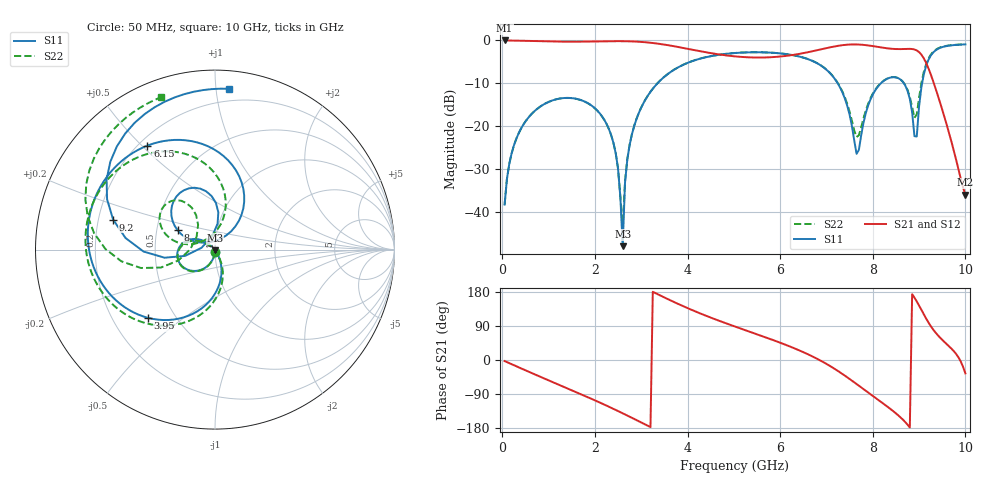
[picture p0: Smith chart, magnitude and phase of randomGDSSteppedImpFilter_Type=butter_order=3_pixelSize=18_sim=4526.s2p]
! freq	dB(S11)	phase(S11)	dB(S12)	phase(S12)
!  dB(S21)	phase(S21)	dB(S22)	phase(S22)
!S-par simulation data
#  GHz  S  DB  R 50
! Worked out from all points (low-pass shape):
!   200 points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, 50 MHz to 10 GHz, reference 50 ohm
!   highest |S21| = 0.00 dB at 50 MHz (marker M1); lowest = -36.0 dB at 10 GHz (marker M2)
!   |S21| within 3 dB of the highest: start of sweep to 4.529 GHz; 6.479 GHz to 9.025 GHz (2.546 GHz wide, 32.8 % of centre)
!   lowest |S11| = -48.0 dB at 2.6 GHz (marker M3), VSWR 1.01, Z = 50 - j0.399 ohm
!   |S11| at or under -10 dB: start of sweep to 3.351 GHz; 7.243 GHz to 8.175 GHz (932.2 MHz wide, 12.1 % of centre); 8.671 GHz to 9.066 GHz (395 MHz wide, 4.45 % of centre)
!   |S22| runs from -43.8 to -0.9 dB; largest |S21 - S12| = 0
!   S11 on the Smith chart (normalised r, x): 50 MHz: 1.00, -0.02; 3.95 GHz: 0.35, -0.37; 6.15 GHz: 0.23, +0.52; 8 GHz: 0.64, +0.15; 9.2 GHz: 0.26, +0.13; 10 GHz: 0.12, +1.08
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0.05  -38.27 -92.3  -0.00 -2.8  -0.00 -2.8  -38.29 -92.3
0.2  -26.40 -101.3  -0.03 -11.0  -0.03 -11.0  -26.39 -100.9
0.55  -18.17 -120.8  -0.11 -29.9  -0.11 -29.9  -18.17 -119.9
1.75  -14.12 175.0  -0.28 -93.0  -0.28 -93.0  -14.12 178.3
2.4  -23.87 139.6  -0.18 -128.9  -0.18 -128.9  -23.89 146.1
2.5  -29.95 135.2  -0.17 -134.7  -0.17 -134.7  -29.95 144.9
2.6  -47.96 -94.0  -0.18 -140.6  -0.18 -140.6  -43.84 -106.3
2.65  -33.19 -61.2  -0.18 -143.6  -0.18 -143.6  -32.86 -65.6
2.8  -21.86 -67.0  -0.23 -152.6  -0.23 -152.6  -21.80 -64.9
3.4  -9.45 -103.0  -0.81 170.9  -0.81 170.9  -9.43 -97.8
3.95  -5.47 -134.5  -1.84 139.6  -1.84 139.6  -5.45 -127.9
5.05  -2.91 172.4  -3.74 87.2  -3.74 87.2  -2.90 -177.9
6.15  -3.21 123.0  -3.57 38.6  -3.57 38.6  -3.20 136.8
6.7  -4.79 93.7  -2.51 9.3  -2.51 9.3  -4.77 110.3
7.3  -11.10 55.5  -1.17 -33.1  -1.17 -33.1  -10.96 78.0
7.65  -26.44 91.1  -0.93 -63.4  -0.93 -63.4  -22.51 115.4
8  -12.62 152.7  -1.32 -94.8  -1.32 -94.8  -12.42 167.5
8.35  -8.75 126.2  -1.88 -126.2  -1.88 -126.2  -8.72 146.5
8.7  -10.48 93.7  -1.98 -163.6  -1.98 -163.6  -10.38 121.4
8.95  -22.39 172.4  -2.33 154.5  -2.33 154.5  -17.22 179.4
9.2  -4.56 163.6  -6.44 99.5  -6.44 99.5  -4.28 179.6
10  -0.92 85.0  -35.99 -35.3  -35.99 -35.3  -0.91 109.4
